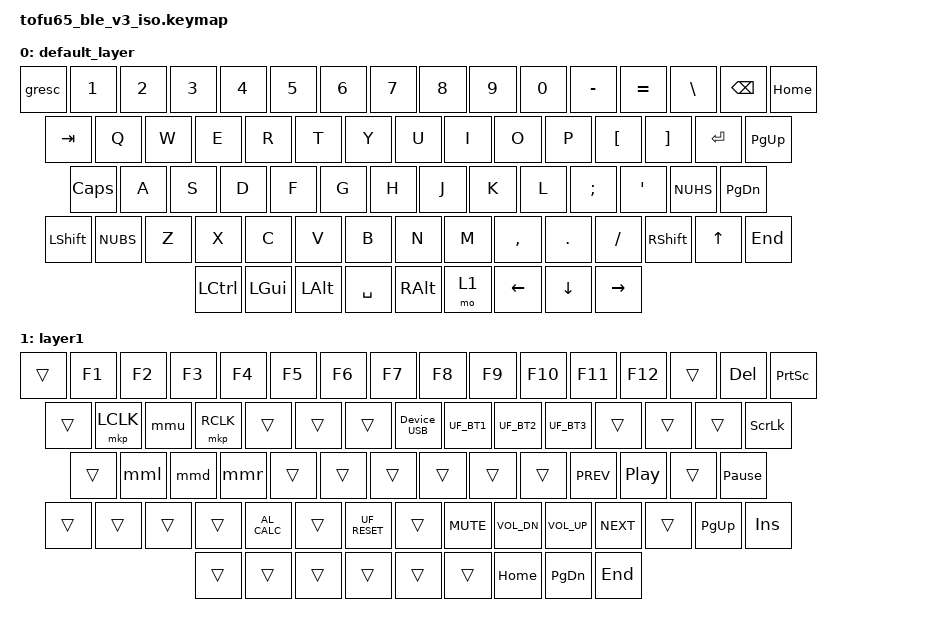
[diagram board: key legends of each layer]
#include "common.keymap"

#define UF_RESET bootloader_reset 0 0
#define UF_BT1 device_bt1 0 0
#define UF_BT2 device_bt2 0 1
#define UF_BT3 device_bt3 0 2

/ {
    keymap {
        compatible = "zmk,keymap";
        
        default_layer {

            bindings = <
    &gresc   &kp N1 &kp N2 &kp N3 &kp N4 &kp N5 &kp N6 &kp N7 &kp N8 &kp N9 &kp N0 &kp MINUS &kp EQUAL &kp BSLH &kp BSPC   &kp HOME
    &kp TAB    &kp Q  &kp W  &kp E  &kp R  &kp T  &kp Y  &kp U  &kp I  &kp O  &kp P  &kp LBKT  &kp RBKT  &kp RET           &kp PG_UP
    &kp CLCK    &kp A  &kp S  &kp D  &kp F  &kp G  &kp H  &kp J  &kp K  &kp L  &kp SEMI &kp SQT        &kp NUHS            &kp PG_DN
   &kp LSHFT &kp NUBS &kp Z  &kp X  &kp C  &kp V  &kp B  &kp N  &kp M  &kp COMMA &kp DOT &kp FSLH      &kp RSHIFT  &kp UP  &kp END
    &kp LCTRL &kp LGUI &kp LALT             &kp SPACE                       &kp RALT  &mo 1             &kp LEFT  &kp DOWN &kp RIGHT
            >;
        };

        layer1 {
            bindings = <
    &trans  &kp F1    &kp F2    &kp F3  &kp F4   &kp F5  &kp F6  &kp F7  &kp F8   &kp F9   &kp F10  &kp F11 &kp F12  &trans  &kp DELETE      &kp PRINTSCREEN
    &trans  &mkp LCLK   &mmu    &mkp RCLK  &trans   &trans  &trans  &Device_USB  &UF_BT1  &UF_BT2  &UF_BT3   &trans  &trans  &trans          &kp SCROLLLOCK
    &trans  &mml         &mmd     &mmr      &trans  &trans  &trans  &trans  &trans   &trans   &kp C_PREV  &kp C_PLAY_PAUSE      &trans       &kp PAUSE_BREAK
    &trans &trans  &trans  &trans  &kp C_AL_CALC  &trans &UF_RESET &trans &kp C_MUTE  &kp C_VOL_DN  &kp C_VOL_UP  &kp C_NEXT  &trans  &kp PAGE_UP  &kp INSERT
    &trans  &trans   &trans                            &trans                                   &trans    &trans          &kp HOME  &kp PAGE_DOWN  &kp END
            >;
        };
        layer2 { status = "reserved"; };
        layer3 { status = "reserved"; };
        layer4 { status = "reserved"; };
        layer5 { status = "reserved"; };
        layer6 { status = "reserved"; };
        layer7 { status = "reserved"; };
    };
};
